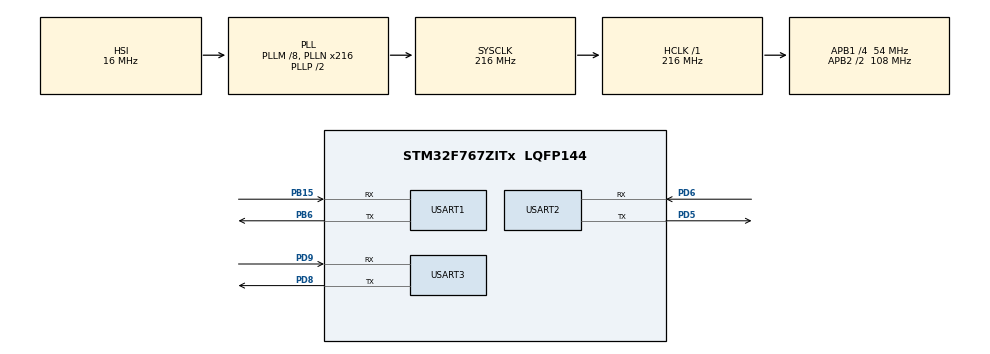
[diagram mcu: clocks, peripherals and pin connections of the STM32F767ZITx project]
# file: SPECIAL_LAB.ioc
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Mcu.Family=STM32F7
Mcu.Name=STM32F767ZITx
Mcu.Package=LQFP144
NVIC.PriorityGroup=NVIC_PRIORITYGROUP_4
NVIC.USART2_IRQn=true\:0\:0\:false\:false\:true\:true\:true\:true
NVIC.USART3_IRQn=true\:0\:0\:false\:false\:true\:true\:true\:true
PB15.Mode=Asynchronous
PB15.Signal=USART1_RX
PB6.Mode=Asynchronous
PB6.Signal=USART1_TX
PD5.Mode=Asynchronous
PD5.Signal=USART2_TX
PD6.Mode=Asynchronous
PD6.Signal=USART2_RX
PD8.Mode=Asynchronous
PD8.Signal=USART3_TX
PD9.Mode=Asynchronous
PD9.Signal=USART3_RX
ProjectManager.HeapSize=0x200
ProjectManager.StackSize=0x400
ProjectManager.TargetToolchain=STM32CubeIDE
RCC.AHBFreq_Value=216000000
RCC.APB1CLKDivider=RCC_HCLK_DIV4
RCC.APB1Freq_Value=54000000
RCC.APB1TimFreq_Value=108000000
RCC.APB2CLKDivider=RCC_HCLK_DIV2
RCC.APB2Freq_Value=108000000
RCC.APB2TimFreq_Value=216000000
RCC.CortexFreq_Value=216000000
RCC.HCLKFreq_Value=216000000
RCC.HSE_VALUE=25000000
RCC.HSI_VALUE=16000000
RCC.LSE_VALUE=32768
RCC.PLLM=8
RCC.PLLN=216
RCC.SYSCLKFreq_VALUE=216000000
RCC.SYSCLKSource=RCC_SYSCLKSOURCE_PLLCLK
RCC.USBFreq_Value=216000000
RCC.VCOOutputFreq_Value=432000000
USART1.VirtualMode-Asynchronous=VM_ASYNC
USART2.VirtualMode-Asynchronous=VM_ASYNC
USART3.VirtualMode-Asynchronous=VM_ASYNC
board=custom

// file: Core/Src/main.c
/* USER CODE BEGIN Header */
/**
 ******************************************************************************
 * @file           : main.c
 * @brief          : Main program body
 ******************************************************************************
 * @attention
 *
 * Copyright (c) 2023 STMicroelectronics.
 * All rights reserved.
 *
 * This software is licensed under terms that can be found in the LICENSE file
 * in the root directory of this software component.
 * If no LICENSE file comes with this software, it is provided AS-IS.
 *
 ******************************************************************************
 */
/* USER CODE END Header */
#include "main.h"
#include "usart.h"
#include "gpio.h"
#include "stdbool.h"
#include "string.h"

/* USER CODE BEGIN PV */

char text[] = "Man from U.A.R.T.2!\r\nQuit PRESS q\r\n";

char ready[] = "	Name : ";

char otherReady[] = "\r\n is ready";

bool textSent = false;

char mymyText[] = "=>";

char myName[100];

char yourName[100];

char myotherText[] = ": ";

char otherText[] = "	Mr.Two =>";

char recieveText[100];

char inputBuffer[100];

char rc;

bool receivingData = true;

bool sendingData = false;

bool nameInput = true;

char nameTemp[100];

char waitingFor[] = "	Waiting For Mr.Two";

/* USER CODE END PV */

void SystemClock_Config(void);

int main(void) {

	/* MCU Configuration--------------------------------------------------------*/

	/* Reset of all peripherals, Initializes the Flash interface and the Systick. */
	HAL_Init();

	/* Configure the system clock */
	SystemClock_Config();

	/* Initialize all configured peripherals */
	MX_GPIO_Init();
	MX_USART1_UART_Init();
	MX_USART3_UART_Init();
	MX_USART2_UART_Init();
	/* USER CODE BEGIN 2 */
	HAL_UART_Transmit(&huart3, (uint8_t*) text, sizeof(text), 100);
	//HAL_UART_Transmit(&huart3, (uint8_t*) ready, strlen(ready), 1000);
	while (__HAL_UART_GET_FLAG(&huart2, UART_FLAG_RXNE) == RESET) {
	}
	HAL_UART_Receive_IT(&huart2, (uint8_t*) &rc, 1);
	/* USER CODE END 2 */

	/* Infinite loop */
	/* USER CODE BEGIN WHILE */

//  void ProcessInputData(void)
//    {
//      if (__HAL_UART_GET_FLAG(&huart3, UART_FLAG_RXNE) == SET)
//      {
//        uint8_t receivedChar;
//
//        HAL_UART_Receive(&huart3, &receivedChar, 1, 1000);
//
//        if (receivedChar == '\r')
//        {
//
//          inputBuffer[strlen(inputBuffer)] = '\r';
//          nameTemp[strlen(nameTemp)] = '\r';
//
//          HAL_UART_Transmit(&huart1, (uint8_t *)inputBuffer, strlen(inputBuffer), 1000);
//          HAL_UART_Transmit(&huart3, (uint8_t *)"\r\n", strlen("\r\n"), 1000);
//          ongoing = false;
//          HAL_Delay(500);
//          ongoing = true;
//
////          if(HAL_UART_Transmit(&huart1, (uint8_t *)inputBuffer, strlen(inputBuffer), 1000) == HAL_OK)
////          {
////            HAL_UART_Transmit(&huart3, (uint8_t *)otherText, strlen(otherText), 1000);
////            HAL_UART_Transmit(&huart3, (uint8_t *)recieveText, strlen(recieveText), 1000);
////            HAL_UART_Transmit(&huart3, (uint8_t *)"\r\n", strlen("\r\n"), 1000);
////            receivingData = true;
////          }
////          if(HAL_UART_Transmit(&huart1, (uint8_t *)inputBuffer, strlen(inputBuffer), 1000) == HAL_OK && sendingData == false){
//////        	  HAL_UART_Transmit(&huart2, (uint8_t *)otherText, strlen(otherText), 1000);
//////        	  HAL_UART_Transmit(&huart2, (uint8_t *)inputBuffer, strlen(inputBuffer), 1000);
////        	  //HAL_UART_Transmit(&huart3, (uint8_t *)inputBuffer, strlen(inputBuffer), 1000);
////        	  receivingData = true;
////          }
////          if(HAL_UART_Receive(&huart2, (uint8_t *)recieveText, strlen(recieveText), 1000) == HAL_OK && receivingData == true){
////        	  HAL_UART_Transmit(&huart3, (uint8_t *)recieveText, strlen(recieveText), 1000);
////        	  sendingData = true;
////        	  receivingData = false;
////          }
//
//          memset(inputBuffer, 0, sizeof(inputBuffer));
//
//        }
//
//        else if (receivedChar == 0x08)
//        {
//
//          if (strlen(inputBuffer) > 0)
//          {
//        	 inputBuffer[strlen(inputBuffer) - 1] = '\0';
//        	 HAL_UART_Transmit(&huart3, (uint8_t *)"\b \b", 3, 1000);
//          }
//
//        }
//
//        else
//        {
//          HAL_UART_Transmit(&huart3, &receivedChar, 1, 1000);
//          inputBuffer[strlen(inputBuffer)] = receivedChar;
//        }
//      }
//    }
//
//
//  void NameInputData(void)
//      {
//        if (__HAL_UART_GET_FLAG(&huart3, UART_FLAG_RXNE) == SET)
//        {
//          uint8_t receivedCharName;
//
//          HAL_UART_Receive(&huart3, &receivedCharName, 1, 1000);
//
//          if (receivedCharName == '\r')
//          {
//        	textSent = true;
//        	nameInput = false;
//        	strcpy(nameTemp,myName);
//        	strcat(nameTemp," is Ready!!!\r");
//        	HAL_UART_Transmit(&huart1, (uint8_t *)nameTemp, sizeof(nameTemp), 1000);
//        	strcpy(nameTemp,myName);
//        	memset(myName, 0, sizeof(myName));
//          }
//
//          else if (receivedCharName == 0x08)
//          {
//
//            if (strlen(myName) > 0)
//            {
//             myName[strlen(myName) - 1] = '\0';
//          	 HAL_UART_Transmit(&huart3, (uint8_t *)"\b \b", 3, 1000);
//            }
//
//          }
//
//          else
//          {
//            HAL_UART_Transmit(&huart3, &receivedCharName, 1, 1000);
//            myName[strlen(myName)] = receivedCharName;
//          }
//        }
//      }
	while (1) {
		/* USER CODE END WHILE */

	}
}

void SystemClock_Config(void) {
	RCC_OscInitTypeDef RCC_OscInitStruct = { 0 };
	RCC_ClkInitTypeDef RCC_ClkInitStruct = { 0 };

	/** Configure the main internal regulator output voltage
	 */
	__HAL_RCC_PWR_CLK_ENABLE();
	__HAL_PWR_VOLTAGESCALING_CONFIG(PWR_REGULATOR_VOLTAGE_SCALE1);

	/** Initializes the RCC Oscillators according to the specified parameters
	 * in the RCC_OscInitTypeDef structure.
	 */
	RCC_OscInitStruct.OscillatorType = RCC_OSCILLATORTYPE_HSI;
	RCC_OscInitStruct.HSIState = RCC_HSI_ON;
	RCC_OscInitStruct.HSICalibrationValue = RCC_HSICALIBRATION_DEFAULT;
	RCC_OscInitStruct.PLL.PLLState = RCC_PLL_ON;
	RCC_OscInitStruct.PLL.PLLSource = RCC_PLLSOURCE_HSI;
	RCC_OscInitStruct.PLL.PLLM = 8;
	RCC_OscInitStruct.PLL.PLLN = 216;
	RCC_OscInitStruct.PLL.PLLP = RCC_PLLP_DIV2;
	RCC_OscInitStruct.PLL.PLLQ = 2;
	RCC_OscInitStruct.PLL.PLLR = 2;
	if (HAL_RCC_OscConfig(&RCC_OscInitStruct) != HAL_OK) {
		Error_Handler();
	}

	/** Activate the Over-Drive mode
	 */
	if (HAL_PWREx_EnableOverDrive() != HAL_OK) {
		Error_Handler();
	}

	/** Initializes the CPU, AHB and APB buses clocks
	 */
	RCC_ClkInitStruct.ClockType = RCC_CLOCKTYPE_HCLK | RCC_CLOCKTYPE_SYSCLK
			| RCC_CLOCKTYPE_PCLK1 | RCC_CLOCKTYPE_PCLK2;
	RCC_ClkInitStruct.SYSCLKSource = RCC_SYSCLKSOURCE_PLLCLK;
	RCC_ClkInitStruct.AHBCLKDivider = RCC_SYSCLK_DIV1;
	RCC_ClkInitStruct.APB1CLKDivider = RCC_HCLK_DIV4;
	RCC_ClkInitStruct.APB2CLKDivider = RCC_HCLK_DIV2;

	if (HAL_RCC_ClockConfig(&RCC_ClkInitStruct, FLASH_LATENCY_7) != HAL_OK) {
		Error_Handler();
	}
}

/* USER CODE BEGIN 4 */
void HAL_UART_RxCpltCallback(UART_HandleTypeDef *huart) {

	if (huart == &huart3 && nameInput == true) {
		if (rc == '\r') {
			nameInput = false;
			strcpy(nameTemp, myName);
			strcat(nameTemp, "\r");
			HAL_UART_Transmit(&huart2, (uint8_t*) nameTemp, sizeof(nameTemp),
					1000);
			strcpy(nameTemp, myName);
			memset(myName, 0, sizeof(myName));
			if (strcmp(nameTemp, "q") == 0) {
				HAL_UART_Transmit(&huart2, (uint8_t*) "q", sizeof("q"), 1000);
				HAL_UART_Transmit(&huart3, (uint8_t*) "\r\n quit",
						sizeof("\r\n quit"), 1000);

			}
			HAL_UART_Receive_IT(&huart2, (uint8_t*) &rc, 1);
			rc = '\0';

		}

		else if (rc == 0x08) {

			if (strlen(myName) >= 0) {
				HAL_UART_Receive_IT(&huart3, (uint8_t*) &rc, 1);
				myName[strlen(myName) - 1] = '\0';
				HAL_UART_Transmit(&huart3, (uint8_t*) "\b \b", 3, 1000);
			}

		}

		else {
			HAL_UART_Receive_IT(&huart3, (uint8_t*) &rc, 1);
			myName[strlen(myName)] = rc;
			HAL_UART_Transmit(&huart3, (uint8_t*) &rc, 1, 1000);
		}
	}

	if (huart == &huart3 && !nameInput) {
		if (rc == '\r') {
			if (strcmp(inputBuffer, "q") == 0) {
				HAL_UART_Transmit(&huart2, (uint8_t*) 'q', 1,
				1000);
				HAL_UART_Transmit(&huart3, (uint8_t*) "\r\n quit",
						sizeof("\r\n quit"), HAL_MAX_DELAY);

			}
			inputBuffer[strlen(inputBuffer)] = '\r';

			HAL_UART_Transmit(&huart2, (uint8_t*) inputBuffer,
					strlen(inputBuffer), 1000);
			HAL_UART_Transmit(&huart3, (uint8_t*) "\r\n", strlen("\r\n"), 1000);
			//receivingData = true;
			memset(inputBuffer, 0, sizeof(inputBuffer));
			rc = '\0';
			HAL_UART_Receive_IT(&huart2, (uint8_t*) &rc, 1);
		}

		else if (rc == 0x08) {
			if (strlen(inputBuffer) >= 0) {
				HAL_UART_Receive_IT(&huart3, (uint8_t*) &rc, 1);
				inputBuffer[strlen(inputBuffer) - 1] = '\0';
				HAL_UART_Transmit(&huart3, (uint8_t*) "\b \b", 3, 1000);
			}

		}

		else {
			HAL_UART_Transmit(&huart3, (uint8_t*) &rc, 1, 1000);
			inputBuffer[strlen(inputBuffer)] = rc;
			HAL_UART_Receive_IT(&huart3, (uint8_t*) &rc, 1);
		}
	}
	if (huart == &huart2) {
		if (strlen(yourName) == 0) {
			if (rc == '\r') {
				strcpy(yourName, recieveText);
				memset(recieveText, '\0', sizeof(recieveText));
				if (strcmp(yourName, "q") == 0) {
					HAL_UART_Transmit(&huart2, (uint8_t*) "q", strlen("q"),
							1000);
					HAL_UART_Transmit(&huart3, (uint8_t*) "\r\n quit",
							sizeof("\r\n quit"), HAL_MAX_DELAY);
					return 0;
				}
				HAL_UART_Transmit(&huart3, (uint8_t*) "\r\n        ",
						strlen("\r\n        "), HAL_MAX_DELAY);
				HAL_UART_Transmit(&huart3, (uint8_t*) yourName,
						strlen(yourName), HAL_MAX_DELAY);
				HAL_UART_Transmit(&huart3, (uint8_t*) " is ready!!!",
						sizeof(" is ready!!!"), HAL_MAX_DELAY);
				HAL_UART_Transmit(&huart3, (uint8_t*) "\r\n",
						strlen("\r\n"), HAL_MAX_DELAY);
				HAL_UART_Transmit(&huart3, (uint8_t*) ready, strlen(ready),
						1000);
				strcat(yourName, " : ");
				rc = '\0';

				HAL_UART_Receive_IT(&huart3, (uint8_t*) &rc, 1);
			} else {
				recieveText[strlen(recieveText)] = rc;
				HAL_UART_Receive_IT(&huart2, (uint8_t*) &rc, 1);
			}
		} else if (strlen(yourName) != 0) {
			if (rc == '\r') {
				if (strcmp(recieveText, "qq") == 0) {
					HAL_UART_Transmit(&huart3, (uint8_t*) "\r\n quit",
							sizeof("\r\n quit"), HAL_MAX_DELAY);
					return 0;
				}
				HAL_UART_Transmit(&huart3, (uint8_t*) "\r\n", sizeof("\r\n"),
				HAL_MAX_DELAY);
				HAL_UART_Transmit(&huart3, (uint8_t*) "        ",
						strlen("        "), HAL_MAX_DELAY);
				HAL_UART_Transmit(&huart3, (uint8_t*) yourName,
						sizeof(yourName), HAL_MAX_DELAY);
				HAL_UART_Transmit(&huart3, (uint8_t*) recieveText,
						sizeof(recieveText), HAL_MAX_DELAY);
				memset(recieveText, '\0', sizeof(recieveText));
				rc = '\0';
				HAL_UART_Receive_IT(&huart3, (uint8_t*) &rc, 1);
				HAL_UART_Transmit(&huart3, (uint8_t*) "\r\n", strlen("\r\n"),
				HAL_MAX_DELAY);
				HAL_UART_Transmit(&huart3, (uint8_t*) "        ",
						strlen("        "), HAL_MAX_DELAY);
				HAL_UART_Transmit(&huart3, (uint8_t*) nameTemp,
						strlen(nameTemp), HAL_MAX_DELAY);
				HAL_UART_Transmit(&huart3, (uint8_t*) " => ", strlen(" => "),
				HAL_MAX_DELAY);

			}

			else {
				recieveText[strlen(recieveText)] = rc;
				HAL_UART_Receive_IT(&huart2, (uint8_t*) &rc, 1);
			}
		}
	}
}

/* USER CODE END 4 */

void Error_Handler(void) {
	__disable_irq();
	while (1) {
	}
}
